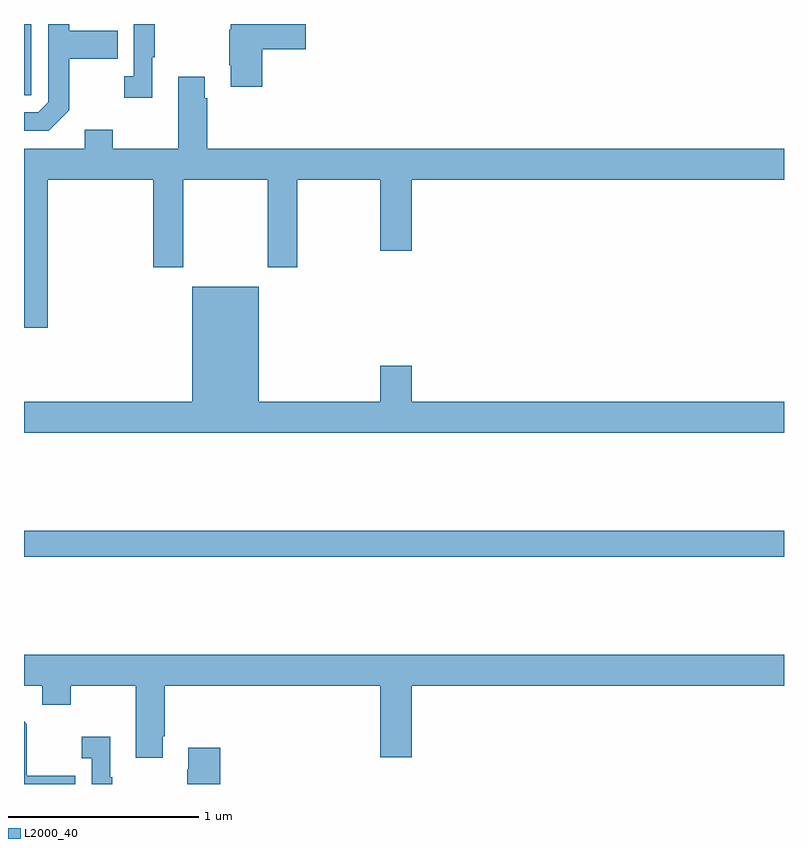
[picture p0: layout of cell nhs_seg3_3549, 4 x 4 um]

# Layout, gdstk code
import gdstk
lib = gdstk.Library(unit=1e-6, precision=1e-09)
def R(c, l, rs):  # rectangles x0, y0, x1, y1
    for r in rs: c.add(gdstk.rectangle(r[:2], r[2:], *l))
def P(c, l, *ps):  # polygons
    for p in ps: c.add(gdstk.Polygon(p, *l))
L2000_40 = (2000, 40)

nhs_seg3_3549 = lib.new_cell('nhs_seg3_3549')
R(nhs_seg3_3549, L2000_40, [(295,701.596,299,701.732), (295,704.025,295.038,704.4)])
P(nhs_seg3_3549, L2000_40, [(295.237,703.945),(295.237,704.218),(295.493,704.218),(295.493,704.365),(295.237,704.365),(295.237,704.4),(295.128,704.4),(295.128,703.989),(295.074,703.935),(295,703.935),(295,703.839),(295.131,703.839)],
  [(296.255,704.267),(296.482,704.267),(296.482,704.4),(296.087,704.4),(296.087,704.371),(296.08,704.371),(296.08,704.182),(296.087,704.182),(296.087,704.07),(296.255,704.07)],
  [(295.675,704.225),(295.687,704.225),(295.687,704.4),(295.578,704.4),(295.578,704.126),(295.527,704.126),(295.527,704.013),(295.675,704.013)],
  [(295.124,703.58),(295.679,703.58),(295.679,703.119),(295.839,703.119),(295.839,703.58),(296.284,703.58),(296.284,703.119),(296.439,703.119),(296.439,703.58),(296.876,703.58),(296.876,703.206),(297.04,703.206),(297.04,703.58),(299,703.58),(299,703.744),(295.964,703.744),(295.964,704.009),(295.951,704.009),(295.951,704.122),(295.811,704.122),(295.811,703.744),(295.467,703.744),(295.467,703.843),(295.319,703.843),(295.319,703.744),(295,703.744),(295,702.801),(295.124,702.801)],
  [(299,702.412),(297.04,702.412),(297.04,702.601),(296.876,702.601),(296.876,702.412),(296.236,702.412),(296.236,703.018),(295.886,703.018),(295.886,702.412),(295,702.412),(295,702.248),(299,702.248)],
  [(295.729,700.651),(295.742,700.651),(295.742,700.916),(296.876,700.916),(296.876,700.542),(297.04,700.542),(297.04,700.916),(299,700.916),(299,701.08),(295,701.08),(295,700.916),(295.097,700.916),(295.097,700.817),(295.245,700.817),(295.245,700.916),(295.589,700.916),(295.589,700.539),(295.729,700.539)],
  [(295.271,700.443),(295.015,700.443),(295.015,700.715),(295,700.73),(295,700.4),(295.271,700.4)],
  [(295.465,700.435),(295.453,700.435),(295.453,700.648),(295.305,700.648),(295.305,700.535),(295.356,700.535),(295.356,700.4),(295.465,700.4)],
  [(296.033,700.591),(295.865,700.591),(295.865,700.478),(295.858,700.478),(295.858,700.4),(296.033,700.4)])

lib.write_gds('nhs_seg3_3549.gds')
